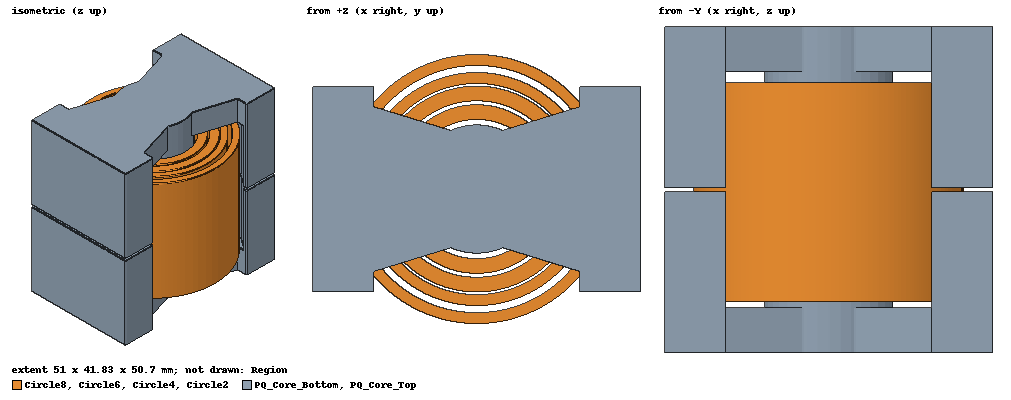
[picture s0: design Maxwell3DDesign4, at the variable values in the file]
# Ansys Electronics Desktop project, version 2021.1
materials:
  copper: permeability=0.999991 conductivity=58000000
  ferrite1: permittivity=1 permeability=5000 core_loss_type="Power Ferrite" core_loss_cm=7.52983 core_loss_x=1.344098 core_loss_y=2.75834 mass_density=4600 core_loss_equiv_cut_depth=0.001meter
  vacuum: permittivity=1

design Maxwell3DDesign4 (Maxwell 3D, EddyCurrent, model units mm)
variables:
  N1 = 12
  N2 = 12
  Vp = 200V
  Rload = 40ohm
  COO = 0A
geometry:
  PQ_Core_Bottom [ferrite1] = box(corner=(-25.5mm, -16mm, -25mm), size=(9.5mm, 32mm, 25mm))
  Polyline1 = polyline(z=-25mm, xy in mm: (-16, -12.8) (-16, 12.8) (-4.075, 9.1320521) (-4.075, -9.1320521) (-16, -12.8), closed, covered)
  Polyline1.sweep_along_vector((0mm, 0mm, 25mm))
  PQ_Core_Bottom.unite(Polyline1)
  XCyl1 = cylinder(axis=Z, base_centre=(0mm, 0mm, -18.05mm), radius=22mm, height=18.05mm, segments=36)
  PQ_Core_Bottom.subtract(XCyl1)
  PQ_Core_Bottom_1 = PQ_Core_Bottom.duplicate_mirror(point=(0mm, 0mm, 0mm), normal=(1mm, 0mm, 0mm))
  XCyl2 = cylinder(axis=Z, base_centre=(0mm, 0mm, -25mm), radius=10mm, height=24.95mm, segments=36)
  PQ_Core_Bottom.unite(PQ_Core_Bottom_1, XCyl2)
  PQ_Core_Top [ferrite1] = PQ_Core_Bottom.duplicate_mirror(point=(0mm, 0mm, 0mm), normal=(0mm, 0mm, 1mm))
  PQ_Core_Top.move(0mm, 0mm, 0.7mm)
  Region [vacuum] = region(percentage_offset=30 on all sides)
  Circle1 = circle(normal=Z, centre=(0mm, 0mm, -0.05mm), radius=10.816654mm)
  Circle2 [copper] = circle(normal=Z, centre=(0mm, 0mm, -0.05mm), radius=(10.816653826392+1.35*1.4+0.4) mm)
  Circle3 = circle(normal=Z, centre=(0mm, 0mm, -0.05mm), radius=(10.816653826392+1.5+1.4) mm)
  Circle4 [copper] = circle(normal=Z, centre=(0mm, 0mm, -0.05mm), radius=(10.816653826392+1.5+1.8+1.35*1.4) mm)
  Circle5 = circle(normal=Z, centre=(0mm, 0mm, -0.05mm), radius=(10.816653826392+1.5+1+1.5+1.6) mm)
  Circle6 [copper] = circle(normal=Z, centre=(0mm, 0mm, -0.05mm), radius=(10.816653826392+1.5+1+1.5+1.8+1.5) mm)
  Circle7 = circle(normal=Z, centre=(0mm, 0mm, -0.05mm), radius=(10.816653826392+1.5+1+1.5+1+1.6+1.8) mm)
  Circle8 [copper] = circle(normal=Z, centre=(0mm, 0mm, -0.05mm), radius=(10.816653826392+1.5+1+1.5+1+1.6+2+1.5) mm)
  Circle2.subtract(Circle1)
  Circle4.subtract(Circle3)
  Circle6.subtract(Circle5)
  Circle8.subtract(Circle7)
  [Circle2, Circle4, Circle6, Circle8].sweep_along_vector((0mm, 0mm, (-17*2) mm))
  [Circle2, Circle4, Circle6, Circle8].move(0mm, 0mm, 17mm)
  Circle2_Section1 [copper] = Circle2.section(plane=ZX)
  Circle4_Section1 [copper] = Circle4.section(plane=ZX)
  Circle6_Section1 [copper] = Circle6.section(plane=ZX)
  Circle8_Section1 [copper] = Circle8.section(plane=ZX)
  Circle2_Section1.separate_bodies()
  Circle4_Section1.separate_bodies()
  Circle6_Section1.separate_bodies()
  Circle8_Section1.separate_bodies()
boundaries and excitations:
  pri_1: Coil Terminal Objects=Circle2_Section1 Conductor_number=12 Winding=Winding1 Point_out_of_terminal=false
  pri_2: Coil Terminal Objects=Circle4_Section1 Conductor_number=12 Winding=Winding1 Point_out_of_terminal=false
  sec_1: Coil Terminal Objects=Circle6_Section1 Conductor_number=10 Winding=Winding2 Point_out_of_terminal=true
  sec_2: Coil Terminal Objects=Circle8_Section1 Conductor_number=10 Winding=Winding2 Point_out_of_terminal=true
  Winding1: Winding Group Type=Current IsSolid=false Current=0.024A ParallelBranchesNum=500 Phase=0deg
  Winding2: Winding Group Type=Voltage IsSolid=false Current=0mA Resistance=20ohm Inductance=0nH Voltage=0mV ParallelBranchesNum=500 Phase=0deg
  eddy effects on: Circle2, Circle4, Circle6, Circle8
  core loss on: PQ_Core_Bottom, PQ_Core_Top
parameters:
  Matrix1: Matrix Winding1, Winding2:
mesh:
  Length_core: LengthBased RefineInside Objects=[PQ_Core_Bottom, PQ_Core_Top] MaxLength=2.55mm
  initial mesh: GlobalCurvilinear{Apply}
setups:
  Setup1: EddyCurrent MaximumPasses=10 MinimumPasses=2 MinimumConvergedPasses=1 PercentRefinement=30 PercentError=1 NonLinearResidual=0.0001 Frequency=29.6kHz
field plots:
  Ohmic_Loss1, Ohmic_Loss3: Ohmic-Loss over Circle8 on Setup1 : LastAdaptive at Freq=29.6kHz Phase=0deg
  Ohmic_Loss2: Ohmic-Loss over Circle2, Circle4, Circle6, Circle8 on Setup1 : LastAdaptive at Freq=29.6kHz Phase=0deg
  Ohmic_Loss4: Ohmic-Loss over Circle2 on Setup1 : LastAdaptive at Freq=29.6kHz Phase=0deg
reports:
  Loss Table 1: CoreLoss, StrandedLoss, StrandedLossAC, StrandedLossR vs Freq on Setup1 : LastAdaptive
  Loss Table 3: StrandedLossAC vs Freq on Setup1 : LastAdaptive
